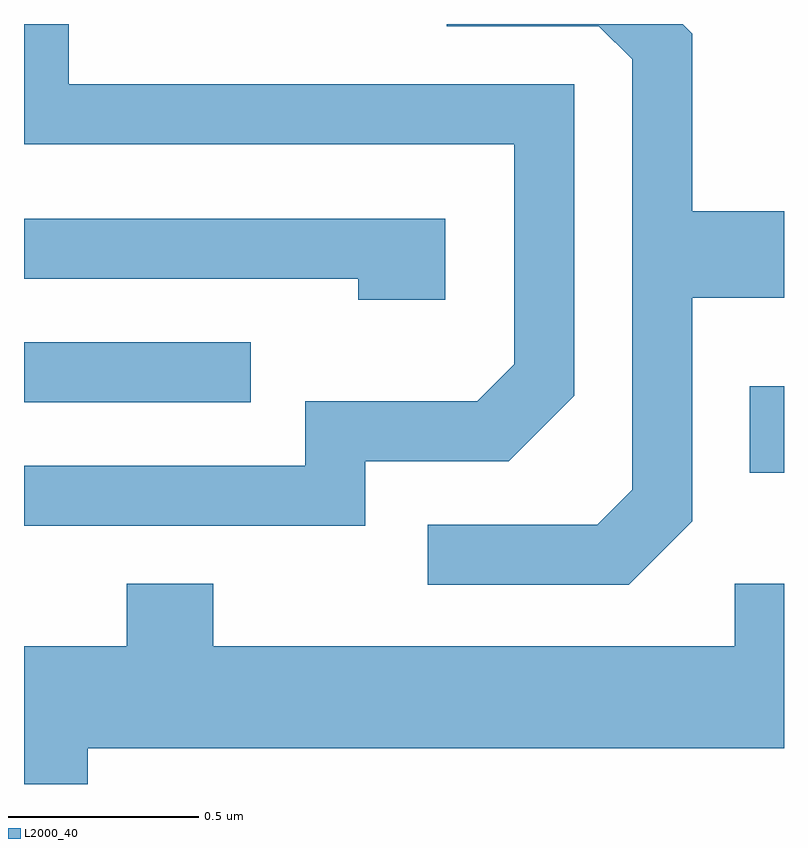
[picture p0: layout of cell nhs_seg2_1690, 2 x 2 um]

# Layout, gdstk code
import gdstk
lib = gdstk.Library(unit=1e-6, precision=1e-09)
def R(c, l, rs):  # rectangles x0, y0, x1, y1
    for r in rs: c.add(gdstk.rectangle(r[:2], r[2:], *l))
def P(c, l, *ps):  # polygons
    for p in ps: c.add(gdstk.Polygon(p, *l))
L2000_40 = (2000, 40)

nhs_seg2_1690 = lib.new_cell('nhs_seg2_1690')
R(nhs_seg2_1690, L2000_40, [(199.521,1024.621,199.611,1024.849), (197.611,1024.806,198.208,1024.964)])
P(nhs_seg2_1690, L2000_40, [(198.509,1024.651),(198.887,1024.651),(199.059,1024.824),(199.059,1025.644),(197.729,1025.644),(197.729,1025.802),(197.611,1025.802),(197.611,1025.486),(198.901,1025.486),(198.901,1024.907),(198.804,1024.809),(198.351,1024.809),(198.351,1024.639),(197.611,1024.639),(197.611,1024.481),(198.509,1024.481)],
  [(199.369,1024.494),(199.369,1025.081),(199.611,1025.081),(199.611,1025.309),(199.369,1025.309),(199.369,1025.777),(199.344,1025.802),(198.723,1025.802),(198.723,1025.796),(199.124,1025.796),(199.211,1025.709),(199.211,1024.577),(199.119,1024.484),(198.673,1024.484),(198.673,1024.326),(199.202,1024.326)],
  [(198.719,1025.289),(197.611,1025.289),(197.611,1025.131),(198.491,1025.131),(198.491,1025.076),(198.719,1025.076)],
  [(197.779,1023.896),(199.611,1023.896),(199.611,1024.329),(199.481,1024.329),(199.481,1024.164),(198.109,1024.164),(198.109,1024.329),(197.881,1024.329),(197.881,1024.164),(197.611,1024.164),(197.611,1023.802),(197.779,1023.802)])

lib.write_gds('nhs_seg2_1690.gds')
